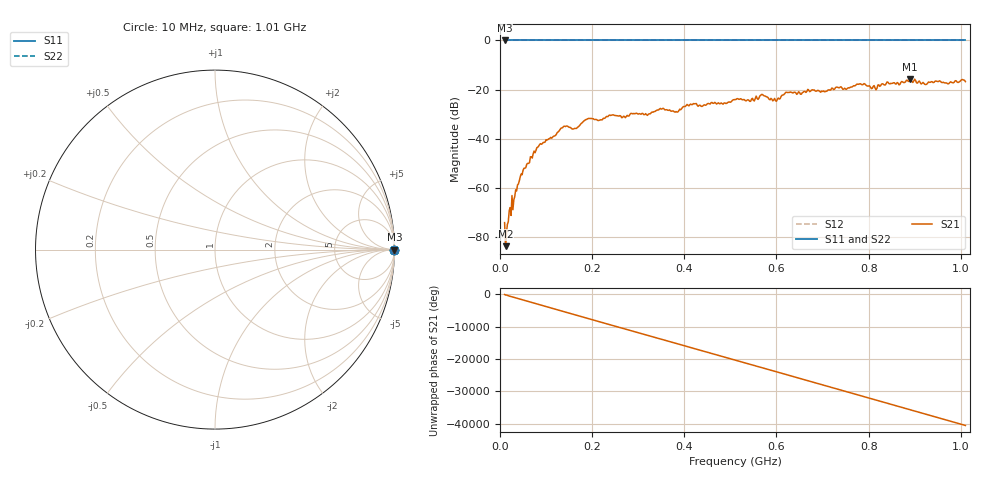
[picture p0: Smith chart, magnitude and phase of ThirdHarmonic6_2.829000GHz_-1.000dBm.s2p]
! 8/17/2025 7:32:05 AM
! C:\ANRITSUVNA\TEMP\TEMP.S2P
! CHANNEL.1
! TR.MEASUREMENT
! RAW.DATA
! RF.CORRECTION.OFF
! AVERAGING.OFF
! IF.BANDWIDTH: 5KHZ
! SWEEPTYPE:  FREQ.SWEEP(Linear)
! Reference Plane Port Info
! PORT:  PORT1  PORT2
! DISTANCE:  0  m  0  m
! TIME:  0  s  0  s
! PHASE.OFFSET:  0  deg.  0  deg.
! LOSS:  0  dB  0  dB
! REF.LOSS:  0  dB  0  dB
! REF.FREQ:  0  Hz  0  Hz
! Power Info
! POWER:  -20  dBm  -20  dBm
! EFF.POWER:  -20  dBm  -20  dBm
! SOURCE.ATTEN:  0  dB  0  dB
! TEST.ATTEN:  0  dB  0  dB
# GHZ S RI R 50.0
! FREQ.GHZ  S11RE  S11IM  S21RE  S21IM  S12RE  S12IM  S22RE  S22IM
!; PortSelection: Port_12
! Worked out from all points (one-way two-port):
!   501 points, 10 MHz to 1.01 GHz, reference 50 ohm
!   highest |S21| = -15.71 dB at 890 MHz (marker M1); lowest = -83.7 dB at 12 MHz (marker M2)
!   lowest |S11| = 0.0 dB at 10 MHz (marker M3)
!   |S11| at or under -10 dB: nowhere
!   |S22| runs from 0.0 to 0.0 dB; largest |S21 - S12| = 1.2
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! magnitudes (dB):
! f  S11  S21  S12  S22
! 10 MHz  0.0  -74.2  0.0  0.0
! 12 MHz  0.0  -83.7  0.0  0.0
! 16 MHz  0.0  -74.9  0.0  0.0
! 22 MHz  0.0  -68.0  0.0  0.0
! 48 MHz  0.0  -54.7  0.0  0.0
! 84 MHz  0.0  -43.0  0.0  0.0
! 136 MHz  0.0  -35.5  0.0  0.0
! 162 MHz  0.0  -35.8  0.0  0.0
! 178 MHz  0.0  -33.6  0.0  0.0
! 344 MHz  0.0  -28.3  0.0  0.0
! 382 MHz  0.0  -28.9  0.0  0.0
! 416 MHz  0.0  -26.2  0.0  0.0
! 510 MHz  0.0  -24.1  0.0  0.0
! 570 MHz  0.0  -22.0  0.0  0.0
! 596 MHz  0.0  -23.6  0.0  0.0
! 622 MHz  0.0  -21.1  0.0  0.0
! 678 MHz  0.0  -20.1  0.0  0.0
! 778 MHz  0.0  -17.8  0.0  0.0
! 814 MHz  0.0  -19.4  0.0  0.0
! 844 MHz  0.0  -17.5  0.0  0.0
! 890 MHz  0.0  -15.7  0.0  0.0
! 1.01 GHz  0.0  -16.8  0.0  0.0
